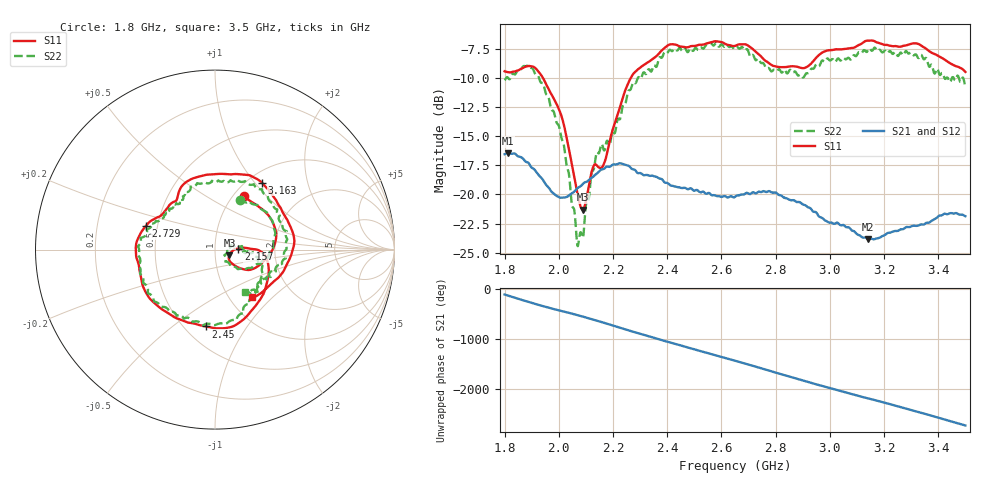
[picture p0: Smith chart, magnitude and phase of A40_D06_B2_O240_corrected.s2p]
! Created with skrf 1.9.0 (http://scikit-rf.org).
# Hz S RI R 50.0
!freq ReS11 ImS11 ReS21 ImS21 ReS12 ImS12 ReS22 ImS22
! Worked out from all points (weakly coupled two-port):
!   1601 points, 1.8 GHz to 3.5 GHz, reference 50 ohm
!   highest |S21| = -16.45 dB at 1.812 GHz (marker M1); lowest = -23.9 dB at 3.142 GHz (marker M2)
!   lowest |S11| = -21.3 dB at 2.089 GHz (marker M3), VSWR 1.19, Z = 58.6 - j3.67 ohm
!   |S11| at or under -10 dB: 1.942 GHz to 2.265 GHz (323.7 MHz wide, 15.4 % of centre)
!   |S22| runs from -24.4 to -7.0 dB; largest |S21 - S12| = 0.0025
!   S11 on the Smith chart (normalised r, x): 1.8 GHz: 1.12, +0.75; 2.157 GHz: 1.30, +0.01; 2.45 GHz: 0.63, -0.66; 2.729 GHz: 0.43, +0.14; 3.163 GHz: 1.16, +1.09; 3.5 GHz: 1.27, -0.76
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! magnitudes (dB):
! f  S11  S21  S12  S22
! 1.8 GHz  -9.4  -16.5  -16.5  -10.2
! 1.812 GHz  -9.5  -16.5  -16.4  -10.0
! 1.883 GHz  -9.0  -17.2  -17.2  -8.9
! 1.942 GHz  -10.0  -18.8  -18.8  -10.5
! 2.011 GHz  -13.4  -20.3  -20.3  -15.3
! 2.067 GHz  -19.7  -19.5  -19.5  -24.1
! 2.084 GHz  -21.2  -19.2  -19.2  -23.4
! 2.089 GHz  -21.3  -19.1  -19.1  -23.7
! 2.127 GHz  -17.6  -18.5  -18.5  -17.9
! 2.157 GHz  -17.7  -17.9  -17.9  -15.7
! 2.19 GHz  -15.2  -17.6  -17.6  -15.6
! 2.262 GHz  -10.1  -17.6  -17.6  -11.0
! 2.367 GHz  -8.0  -18.6  -18.5  -8.5
! 2.45 GHz  -7.3  -19.4  -19.4  -7.5
! 2.65 GHz  -7.2  -20.2  -20.2  -7.5
! 2.729 GHz  -7.8  -19.9  -19.9  -8.5
! 2.934 GHz  -8.7  -21.4  -21.3  -9.2
! 3.142 GHz  -6.8  -23.9  -23.8  -7.6
! 3.163 GHz  -6.8  -23.9  -23.8  -7.4
! 3.217 GHz  -7.2  -23.3  -23.3  -7.7
! 3.325 GHz  -7.1  -22.7  -22.7  -8.3
! 3.5 GHz  -9.5  -21.9  -21.8  -10.8
